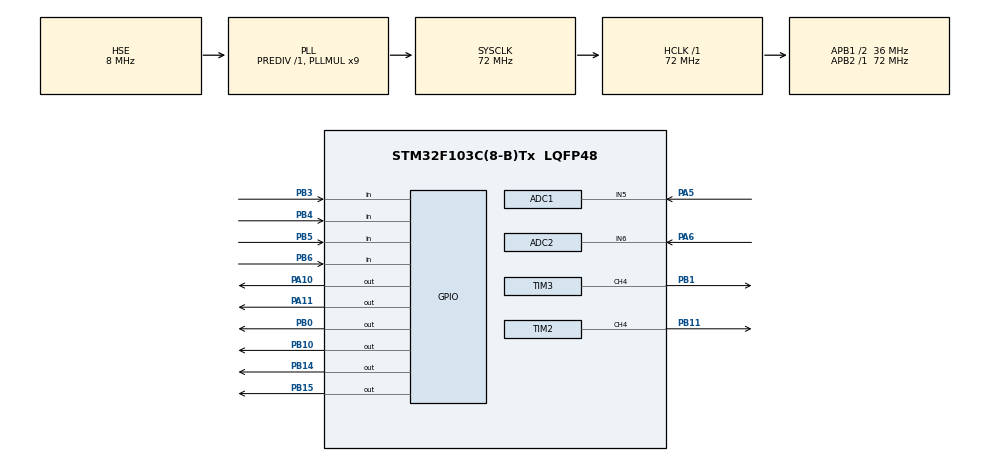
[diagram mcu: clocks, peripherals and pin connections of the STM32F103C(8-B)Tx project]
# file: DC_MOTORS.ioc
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ADC1.Channel-0\#ChannelRegularConversion=ADC_CHANNEL_5
ADC1.NbrOfConversionFlag=1
ADC1.Rank-0\#ChannelRegularConversion=1
ADC1.SamplingTime-0\#ChannelRegularConversion=ADC_SAMPLETIME_1CYCLE_5
ADC1.master=1
ADC2.Channel-0\#ChannelRegularConversion=ADC_CHANNEL_6
ADC2.NbrOfConversionFlag=1
ADC2.Rank-0\#ChannelRegularConversion=1
ADC2.SamplingTime-0\#ChannelRegularConversion=ADC_SAMPLETIME_1CYCLE_5
Mcu.Family=STM32F1
Mcu.Name=STM32F103C(8-B)Tx
Mcu.Package=LQFP48
NVIC.PriorityGroup=NVIC_PRIORITYGROUP_4
PA10.Signal=GPIO_Output
PA11.Signal=GPIO_Output
PA13.Mode=Serial_Wire
PA13.Signal=SYS_JTMS-SWDIO
PA14.Mode=Serial_Wire
PA14.Signal=SYS_JTCK-SWCLK
PA5.Signal=ADCx_IN5
PA6.Signal=ADCx_IN6
PB0.PinState=GPIO_PIN_SET
PB0.Signal=GPIO_Output
PB1.Signal=S_TIM3_CH4
PB10.PinState=GPIO_PIN_SET
PB10.Signal=GPIO_Output
PB11.Signal=S_TIM2_CH4
PB14.PinState=GPIO_PIN_SET
PB14.Signal=GPIO_Output
PB15.PinState=GPIO_PIN_SET
PB15.Signal=GPIO_Output
PB3.Signal=GPIO_Input
PB4.Signal=GPIO_Input
PB5.Signal=GPIO_Input
PB6.Signal=GPIO_Input
PD0-OSC_IN.Mode=HSE-External-Oscillator
PD0-OSC_IN.Signal=RCC_OSC_IN
PD1-OSC_OUT.Mode=HSE-External-Oscillator
PD1-OSC_OUT.Signal=RCC_OSC_OUT
ProjectManager.HeapSize=0x200
ProjectManager.StackSize=0x400
ProjectManager.TargetToolchain=MDK-ARM V5.32
RCC.ADCPresc=RCC_ADCPCLK2_DIV6
RCC.AHBFreq_Value=72000000
RCC.APB1CLKDivider=RCC_HCLK_DIV2
RCC.APB1Freq_Value=36000000
RCC.APB1TimFreq_Value=72000000
RCC.APB2Freq_Value=72000000
RCC.APB2TimFreq_Value=72000000
RCC.HCLKFreq_Value=72000000
RCC.PLLMUL=RCC_PLL_MUL9
RCC.PLLSourceVirtual=RCC_PLLSOURCE_HSE
RCC.SYSCLKFreq_VALUE=72000000
RCC.SYSCLKSource=RCC_SYSCLKSOURCE_PLLCLK
RCC.USBFreq_Value=72000000
SH.ADCx_IN5.0=ADC1_IN5,IN5
SH.ADCx_IN6.0=ADC2_IN6,IN6
SH.ADCx_IN6.1=ADC1_IN6,IN6
SH.S_TIM2_CH4.0=TIM2_CH4,PWM Generation4 CH4
SH.S_TIM3_CH4.0=TIM3_CH4,PWM Generation4 CH4
TIM2.Channel-PWM\ Generation4\ CH4=TIM_CHANNEL_4
TIM2.Period=3599
TIM2.Pulse-PWM\ Generation4\ CH4=359
TIM3.Channel-PWM\ Generation4\ CH4=TIM_CHANNEL_4
TIM3.Period=3599
TIM3.Pulse-PWM\ Generation4\ CH4=359
VP_TIM2_VS_ClockSourceINT.Mode=Internal
VP_TIM3_VS_ClockSourceINT.Mode=Internal
board=custom

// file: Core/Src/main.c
/* ============================================================================
 *  DC_MOTORS  main.c —— 最终版逐行注释（逻辑与你烧录通过的版本完全一致）
 *  编码 UTF-8
 *  硬件连接：
 *    PB1  → Q1 半桥A 上管  TIM3_CH4   正转 PWM
 *    PB0  → Q2 半桥A 下管  GPIO       低电平导通（XJNG2103 的 LIN 低有效）
 *    PB11 → Q3 半桥B 上管  TIM2_CH4   反转 PWM（TIM2 部分重映射）
 *    PB10 → Q4 半桥B 下管  GPIO       低电平导通
 *    PB14/PB15 → 方向指示灯（接 VCC，低电平点亮）
 *    PA5  → ADC1_IN5 电压检测（电阻分压 4:1）
 *    PA6  → ADC2_IN6 电流检测（10mΩ 分流 + 20 倍放大 + 1.2V 偏置）
 * ========================================================================== */

/* ======================= 头文件 ======================= */

#include "main.h"                       /* HAL 总头：stm32f1xx.h、Error_Handler 声明 */
#include "adc.h"                        /* ADC1/ADC2 初始化函数与 hadc1/hadc2 句柄 */
#include "tim.h"                        /* TIM2/TIM3 初始化函数与 htim2/htim3 句柄 */
#include "gpio.h"                       /* MX_GPIO_Init()：引脚初始化 */

/* USER CODE BEGIN Includes */
#include "key.h"                        /* KEY_Scan()：按键扫描函数 */
#include "ADC_Detection.h"              /* GET_ADC1_VALUE_AVG / GET_ADC2_VALUE_AVG */
#include "OLED.h"                       /* OLED_Init / ShowString / ShowChinese / Refresh */
#include <stdio.h>                      /* sprintf()：把数字格式化成字符串 */
/* USER CODE END Includes */

/* USER CODE BEGIN PD */

#define PWM_PERIOD        3600
#define DUTY_MIN          20
#define DUTY_MAX          90
#define DUTY_STEP         10

#define OLED_REFRESH_MS   50
#define CUR_FILTER_SHIFT  1

#define ADC_VREF_MV       3280UL
#define CUR_V0_MV         1220.0f
#define CUR_K             5.00f

/* USER CODE END PD */

/* USER CODE BEGIN PV */

uint8_t  Key_STATE = 0;
uint8_t  Dir       = 0;
uint32_t Duty      = DUTY_MIN;

uint16_t adc_v     = 0;
uint16_t adc_i     = 0;
uint32_t Volt      = 0;
uint32_t oledTick  = 0;

/* USER CODE END PV */

void SystemClock_Config(void);          /* CubeMX 生成的时钟配置函数 */

/* USER CODE BEGIN 0 */

static int32_t s_CurShow  = 0;
static uint8_t s_CurFirst = 0;

static void OLED_ShowDashboard(uint32_t VoltMv, int32_t CurrX100, uint32_t DutyPct, uint8_t DirNow)
{
    char Line[24];

    /* ---------- 第 1 行 y=0：电压: 12.34V ---------- */
    OLED_ShowChinese(0,  0, CN_DIAN, 16, 1);
    OLED_ShowChinese(16, 0, CN_YA,   16, 1);
    OLED_ShowString(32, 0, (uint8_t *)":", 16, 1);
    sprintf(Line, "%3d.%02dV",
            (int)(VoltMv / 1000),
            (int)((VoltMv % 1000) / 10));
    OLED_ShowString(40, 0, (uint8_t *)Line, 16, 1);

    /* ---------- 第 2 行 y=16：电流:205.37mA ---------- */
    OLED_ShowChinese(0,  16, CN_DIAN, 16, 1);
    OLED_ShowChinese(16, 16, CN_LIU,  16, 1);
    OLED_ShowString(32, 16, (uint8_t *)":", 16, 1);
    sprintf(Line, "%3d.%02dmA",
            (int)(CurrX100 / 100),
            (int)(CurrX100 % 100));
    OLED_ShowString(40, 16, (uint8_t *)Line, 16, 1);

    /* ---------- 第 3 行 y=32：PWM : 20% ---------- */
    OLED_ShowString(4,  32, (uint8_t *)"PWM", 16, 1);
    OLED_ShowString(32, 32, (uint8_t *)":", 16, 1);
    sprintf(Line, "%2d%%", (int)DutyPct);
    OLED_ShowString(48, 32, (uint8_t *)Line, 16, 1);

    /* ---------- 第 4 行 y=48：转向:正转 ---------- */
    OLED_ShowChinese(0,  48, CN_ZHUAN, 16, 1);
    OLED_ShowChinese(16, 48, CN_XIANG, 16, 1);
    OLED_ShowString(32, 48, (uint8_t *)":", 16, 1);

    if (DirNow == 1)
    {
        OLED_ShowChinese(40, 48, CN_ZHENG, 16, 1);
        OLED_ShowChinese(56, 48, CN_ZHUAN, 16, 1);
    }
    else if (DirNow == 2)
    {
        OLED_ShowChinese(40, 48, CN_FAN,  16, 1);
        OLED_ShowChinese(56, 48, CN_ZHUAN, 16, 1);
    }
    else
    {
        OLED_ShowChinese(40, 48, CN_TING, 16, 1);
        OLED_ShowChinese(56, 48, CN_ZHI,  16, 1);
    }
}

/* USER CODE END 0 */

int main(void)
{

  HAL_Init();

  SystemClock_Config();

  MX_GPIO_Init();
  MX_ADC1_Init();
  MX_ADC2_Init();
  MX_TIM2_Init();
  MX_TIM3_Init();

  /* USER CODE BEGIN 2 */
  HAL_ADCEx_Calibration_Start(&hadc1);
  HAL_ADCEx_Calibration_Start(&hadc2);
  OLED_Init();
  OLED_ColorTurn(0);
  OLED_DisplayTurn(0);
  OLED_Clear();
  /* USER CODE END 2 */

  while (1)
  {

    Key_STATE = KEY_Scan(0);

    if (Key_STATE == 1 && Duty < DUTY_MAX) Duty += DUTY_STEP;
    if (Key_STATE == 2 && Duty > DUTY_MIN) Duty -= DUTY_STEP;

    if (Key_STATE == 4)
    {
        HAL_TIM_PWM_Stop(&htim3, TIM_CHANNEL_4);
        HAL_TIM_PWM_Stop(&htim2, TIM_CHANNEL_4);
        HAL_GPIO_WritePin(GPIOB, GPIO_PIN_0,  GPIO_PIN_SET);
        HAL_GPIO_WritePin(GPIOB, GPIO_PIN_10, GPIO_PIN_SET);
        HAL_GPIO_WritePin(GPIOB, GPIO_PIN_14, GPIO_PIN_SET);
        HAL_GPIO_WritePin(GPIOB, GPIO_PIN_15, GPIO_PIN_SET);
        Dir = 0;
    }

    if (Key_STATE == 3)
    {
        HAL_TIM_PWM_Stop(&htim3, TIM_CHANNEL_4);
        HAL_TIM_PWM_Stop(&htim2, TIM_CHANNEL_4);
        HAL_GPIO_WritePin(GPIOB, GPIO_PIN_0,  GPIO_PIN_SET);
        HAL_GPIO_WritePin(GPIOB, GPIO_PIN_10, GPIO_PIN_SET);

        HAL_Delay(10);

        if (Dir == 1) Dir = 2;
        else          Dir = 1;

        Duty = DUTY_MIN;

        if (Dir == 1)
        {
            HAL_GPIO_WritePin(GPIOB, GPIO_PIN_0,  GPIO_PIN_SET);
            HAL_GPIO_WritePin(GPIOB, GPIO_PIN_10, GPIO_PIN_RESET);
            __HAL_TIM_SET_COMPARE(&htim3, TIM_CHANNEL_4, PWM_PERIOD * Duty / 100);
            HAL_TIM_PWM_Start(&htim3, TIM_CHANNEL_4);
            HAL_GPIO_WritePin(GPIOB, GPIO_PIN_14, GPIO_PIN_SET);
            HAL_GPIO_WritePin(GPIOB, GPIO_PIN_15, GPIO_PIN_RESET);
        }
        else
        {
            HAL_GPIO_WritePin(GPIOB, GPIO_PIN_10, GPIO_PIN_SET);
            HAL_GPIO_WritePin(GPIOB, GPIO_PIN_0,  GPIO_PIN_RESET);
            __HAL_TIM_SET_COMPARE(&htim2, TIM_CHANNEL_4, PWM_PERIOD * Duty / 100);
            HAL_TIM_PWM_Start(&htim2, TIM_CHANNEL_4);
            HAL_GPIO_WritePin(GPIOB, GPIO_PIN_14, GPIO_PIN_RESET);
            HAL_GPIO_WritePin(GPIOB, GPIO_PIN_15, GPIO_PIN_SET);
        }
    }

    if (Dir == 1)
        __HAL_TIM_SET_COMPARE(&htim3, TIM_CHANNEL_4, PWM_PERIOD * Duty / 100);
    else if (Dir == 2)
        __HAL_TIM_SET_COMPARE(&htim2, TIM_CHANNEL_4, PWM_PERIOD * Duty / 100);

    if (HAL_GetTick() - oledTick >= OLED_REFRESH_MS)
    {
        int32_t mv_i;
        int32_t CurX100;

        oledTick = HAL_GetTick();

        adc_v = GET_ADC1_VALUE_AVG(20);
        adc_i = GET_ADC2_VALUE_AVG(20);

        Volt = (uint32_t)adc_v * ADC_VREF_MV * 4 / 4095;

        mv_i    = (int32_t)adc_i * ADC_VREF_MV / 4095;
        CurX100 = (int32_t)((mv_i - CUR_V0_MV) * CUR_K * 100.0f);
        if (CurX100 < 0) CurX100 = -CurX100;
        if (CurX100 < 500) CurX100 = 0;

        if (s_CurFirst == 0)
        {
            s_CurShow  = CurX100;
            s_CurFirst = 1;
        }
        else
        {
            s_CurShow += (CurX100 - s_CurShow) / (1 << CUR_FILTER_SHIFT);
        }

        OLED_ShowDashboard(Volt, s_CurShow, (Dir == 0) ? 0 : Duty, Dir);
        OLED_Refresh();
    }

    /* USER CODE END WHILE */

  }
}

void SystemClock_Config(void)
{
  RCC_OscInitTypeDef RCC_OscInitStruct = {0};
  RCC_ClkInitTypeDef RCC_ClkInitStruct = {0};
  RCC_PeriphCLKInitTypeDef PeriphClkInit = {0};

  RCC_OscInitStruct.OscillatorType = RCC_OSCILLATORTYPE_HSE;
  RCC_OscInitStruct.HSEState       = RCC_HSE_ON;
  RCC_OscInitStruct.HSEPredivValue = RCC_HSE_PREDIV_DIV1;
  RCC_OscInitStruct.HSIState       = RCC_HSI_ON;
  RCC_OscInitStruct.PLL.PLLState   = RCC_PLL_ON;
  RCC_OscInitStruct.PLL.PLLSource  = RCC_PLLSOURCE_HSE;
  RCC_OscInitStruct.PLL.PLLMUL     = RCC_PLL_MUL9;
  if (HAL_RCC_OscConfig(&RCC_OscInitStruct) != HAL_OK)
  {
    Error_Handler();
  }

  RCC_ClkInitStruct.ClockType      = RCC_CLOCKTYPE_HCLK | RCC_CLOCKTYPE_SYSCLK
                                   | RCC_CLOCKTYPE_PCLK1 | RCC_CLOCKTYPE_PCLK2;
  RCC_ClkInitStruct.SYSCLKSource   = RCC_SYSCLKSOURCE_PLLCLK;
  RCC_ClkInitStruct.AHBCLKDivider  = RCC_SYSCLK_DIV1;
  RCC_ClkInitStruct.APB1CLKDivider = RCC_HCLK_DIV2;
  RCC_ClkInitStruct.APB2CLKDivider = RCC_HCLK_DIV1;
  if (HAL_RCC_ClockConfig(&RCC_ClkInitStruct, FLASH_LATENCY_2) != HAL_OK)
  {
    Error_Handler();
  }

  PeriphClkInit.PeriphClockSelection = RCC_PERIPHCLK_ADC;
  PeriphClkInit.AdcClockSelection    = RCC_ADCPCLK2_DIV6;
  if (HAL_RCCEx_PeriphCLKConfig(&PeriphClkInit) != HAL_OK)
  {
    Error_Handler();
  }
}

void Error_Handler(void)
{
  __disable_irq();
  while (1)
  {
  }
}
